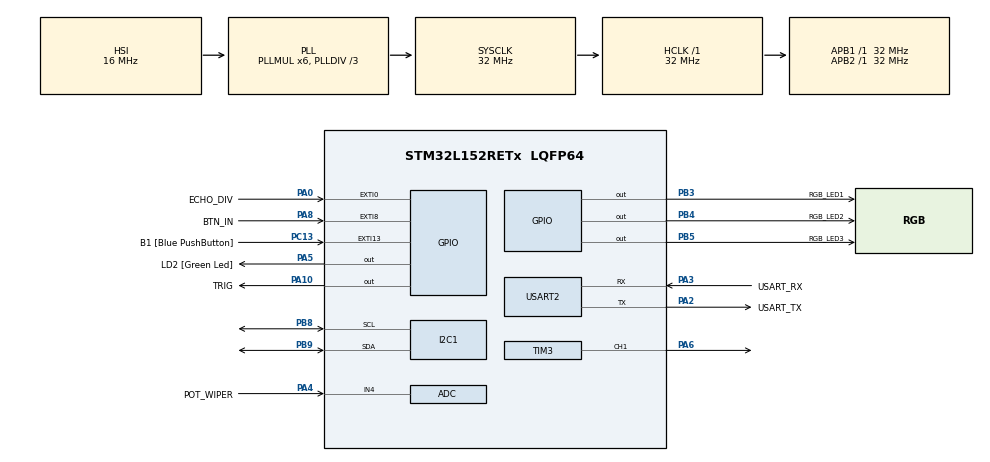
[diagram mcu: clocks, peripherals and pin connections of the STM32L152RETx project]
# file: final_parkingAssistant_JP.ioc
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ADC.Channel-0\#ChannelRegularConversion=ADC_CHANNEL_4
ADC.NbrOfConversionFlag=1
ADC.Rank-0\#ChannelRegularConversion=1
ADC.SamplingTime-0\#ChannelRegularConversion=ADC_SAMPLETIME_96CYCLES
Mcu.Family=STM32L1
Mcu.Name=STM32L152RETx
Mcu.Package=LQFP64
NVIC.EXTI0_IRQn=true\:2\:0\:true\:false\:true\:true\:true\:true
NVIC.EXTI9_5_IRQn=true\:3\:0\:true\:false\:true\:true\:true\:true
NVIC.PriorityGroup=NVIC_PRIORITYGROUP_4
PA0-WKUP1.GPIO_Label=ECHO_DIV
PA0-WKUP1.GPIO_ModeDefaultEXTI=GPIO_MODE_IT_RISING_FALLING
PA0-WKUP1.Signal=GPXTI0
PA10.GPIO_Label=TRIG
PA10.GPIO_Speed=GPIO_SPEED_FREQ_MEDIUM
PA10.Signal=GPIO_Output
PA13.GPIO_Label=TMS
PA13.Mode=Serial_Wire
PA13.Signal=SYS_JTMS-SWDIO
PA14.GPIO_Label=TCK
PA14.Mode=Serial_Wire
PA14.Signal=SYS_JTCK-SWCLK
PA2.GPIO_Label=USART_TX
PA2.Mode=Asynchronous
PA2.Signal=USART2_TX
PA3.GPIO_Label=USART_RX
PA3.Mode=Asynchronous
PA3.Signal=USART2_RX
PA4.GPIO_Label=POT_WIPER
PA4.Mode=IN4
PA4.Signal=ADC_IN4
PA5.GPIO_Label=LD2 [Green Led]
PA5.Signal=GPIO_Output
PA6.Signal=S_TIM3_CH1
PA8.GPIO_Label=BTN_IN
PA8.GPIO_ModeDefaultEXTI=GPIO_MODE_IT_RISING_FALLING
PA8.GPIO_PuPd=GPIO_PULLUP
PA8.Signal=GPXTI8
PB3.GPIO_Label=RGB_LED1
PB3.PinState=GPIO_PIN_SET
PB3.Signal=GPIO_Output
PB4.GPIO_Label=RGB_LED2
PB4.PinState=GPIO_PIN_SET
PB4.Signal=GPIO_Output
PB5.GPIO_Label=RGB_LED3
PB5.PinState=GPIO_PIN_SET
PB5.Signal=GPIO_Output
PB8.GPIO_Speed=GPIO_SPEED_FREQ_MEDIUM
PB8.Mode=I2C
PB8.Signal=I2C1_SCL
PB9.GPIO_Speed=GPIO_SPEED_FREQ_MEDIUM
PB9.Mode=I2C
PB9.Signal=I2C1_SDA
PC13-WKUP2.GPIO_Label=B1 [Blue PushButton]
PC13-WKUP2.Signal=GPXTI13
PC14-OSC32_IN.Mode=LSE-External-Oscillator
PC14-OSC32_IN.Signal=RCC_OSC32_IN
PC15-OSC32_OUT.Mode=LSE-External-Oscillator
PC15-OSC32_OUT.Signal=RCC_OSC32_OUT
PH0-OSC_IN.Mode=HSE-External-Clock-Source
PH0-OSC_IN.Signal=RCC_OSC_IN
PH1-OSC_OUT.Signal=RCC_OSC_OUT
ProjectManager.HeapSize=0x200
ProjectManager.StackSize=0x400
ProjectManager.TargetToolchain=STM32CubeIDE
RCC.48MHZClocksFreq_Value=48000000
RCC.AHBFreq_Value=32000000
RCC.APB1Freq_Value=32000000
RCC.APB1TimFreq_Value=32000000
RCC.APB2Freq_Value=32000000
RCC.APB2TimFreq_Value=32000000
RCC.HCLKFreq_Value=32000000
RCC.HSE_VALUE=8000000
RCC.HSI_VALUE=16000000
RCC.MSI_VALUE=2097000
RCC.PLLDIV=RCC_PLL_DIV3
RCC.PLLMUL=RCC_PLL_MUL6
RCC.RTCClockSelectionVirtual=RCC_RTCCLKSOURCE_LSE
RCC.SYSCLKFreq_VALUE=32000000
RCC.SYSCLKSource=RCC_SYSCLKSOURCE_PLLCLK
RCC.USBOutput=48000000
RCC.VCOOutputFreq_Value=96000000
SH.S_TIM3_CH1.0=TIM3_CH1,PWM Generation1 CH1
TIM2.Prescaler=31
TIM3.Channel-PWM\ Generation1\ CH1=TIM_CHANNEL_1
TIM3.Period=499
TIM3.Prescaler=31
TIM3.Pulse-PWM\ Generation1\ CH1=200
USART2.VirtualMode=VM_ASYNC
VP_TIM2_VS_ClockSourceINT.Mode=Internal
board=NUCLEO-L152RE

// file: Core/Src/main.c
/* USER CODE BEGIN Header */
/**
  ******************************************************************************
  * @file           : main.c
  * @brief          : Main program body
  ******************************************************************************
  * @attention
  *
  * Copyright (c) 2025 STMicroelectronics.
  * All rights reserved.
  *
  * This software is licensed under terms that can be found in the LICENSE file
  * in the root directory of this software component.
  * If no LICENSE file comes with this software, it is provided AS-IS.
  *
  ******************************************************************************
  */
/* USER CODE END Header */
#include "main.h"

/* USER CODE BEGIN Includes */
#include <stdio.h>
#include <string.h>
/* USER CODE END Includes */

/* USER CODE BEGIN PD */
// ---- UI / logic constants ----
// Hysteresis for OOR: once you're "out", you must come back below OOR_EXIT_CM to re-enter range.
#define OOR_ENTER_CM    60    // distance >= this -> go OOR
#define OOR_EXIT_CM     56    // distance <= this -> back in range

#define OUT_MAX_CM      OOR_ENTER_CM   // leave this name for existing code paths (LCD/buzzer)
#define SLOW_BAND_CM    25    // stop_cm..stop_cm+25 = "SLOW"; else "SAFE"
#define BAR_LEN         12    // meter cells on 2nd line
#define DEBOUNCE_MS     40
#define LONG_PRESS_MS   700   // hold >= this => enable/disable toggle

/* USER CODE END PD */

ADC_HandleTypeDef hadc;

I2C_HandleTypeDef hi2c1;

TIM_HandleTypeDef htim2;
TIM_HandleTypeDef htim3;

UART_HandleTypeDef huart2;

/* USER CODE BEGIN PV */
// ---- Ultrasonic shared state (EXTI + TIM2) ----
volatile uint32_t t_rise = 0, t_fall = 0;
volatile uint8_t  echo_done = 0;       // set on falling edge
volatile uint32_t us_pulse = 0;        // pulse width in us
volatile uint16_t cm10     = 0;        // distance in 0.1 cm (integer)

// ---- Pot values ----
volatile uint16_t pot_raw = 0;         // 0..4095
volatile uint16_t stop_cm = 60;        // user "stop" setpoint (cm), from pot

// ---- Buzzer pattern (non-blocking) ----
uint32_t beep_next_ms = 0;
uint16_t beep_on_ms   = 60;
uint16_t beep_off_ms  = 300;

// ---- App state ----
volatile uint8_t  system_enabled = 1;   // long-press toggles this
volatile uint8_t  buzzer_muted   = 0;   // short-press toggles this

// ---- Button (PA8) edge tracking ----
volatile uint8_t  btn_down = 0;
volatile uint32_t btn_t0   = 0;

// ---- MCP23008 LCD port mirror (backlight on) ----
static uint8_t mcp_port = (1u<<7);     // LCD_BL

// Line caches to avoid flicker (16 chars + NUL)
static char line0_prev[17] = "                ";
static char line1_prev[17] = "                ";
static uint32_t next_lcd_ms = 0;

/* USER CODE END PV */

void SystemClock_Config(void);
static void MX_GPIO_Init(void);
static void MX_USART2_UART_Init(void);
static void MX_ADC_Init(void);
static void MX_I2C1_Init(void);
static void MX_TIM2_Init(void);
static void MX_TIM3_Init(void);
/* USER CODE BEGIN PFP */
// microsecond delay via DWT
static void delay_us(uint32_t us);

// ultrasonic
static void usonic_timer_start(void);
static uint8_t usonic_single(void);   // fills us_pulse & cm10, returns 1 if ok

// pot
static uint16_t pot_read_raw(void);
static uint16_t pot_to_stop_cm(uint16_t v); // map 0..4095 -> 20..150 cm

// RGB & buzzer
static void rgb_set(uint8_t r_on, uint8_t g_on, uint8_t b_on); // 1=ON
static void buzzer_on(void);
static void buzzer_off(void);
static void buzzer_update(uint32_t now_ms, uint16_t dist_cm);

// UI helpers (only the drawer is prototyped here;
// lcd_write_line_cached() is defined before use in USER CODE 0)
static void lcd_draw_ui(uint16_t dist_cm, uint16_t stop_cm, uint8_t muted, uint8_t enabled);

// LCD (MCP23008 @ 0x20)
static void lcd_i2c_scan(void);
static HAL_StatusTypeDef mcp_write(uint8_t reg, uint8_t val);
static void mcp_apply(void);
static void lcd_pulseE(void);
static void lcd_write4(uint8_t nibble, uint8_t rs);
static void lcd_write8(uint8_t v, uint8_t rs);
static void lcd_cmd(uint8_t c);
static void lcd_data(uint8_t d);
static void lcd_init_4bit(void);
static void lcd_set_cursor(uint8_t col, uint8_t row);
static void lcd_print(const char *s);
static void lcd_print_u16(uint16_t v);
static void lcd_bar16(uint8_t filled);
static void lcd_clear_line(uint8_t row);
/* USER CODE END PFP */

/* USER CODE BEGIN 0 */
// ---- microsecond delay via DWT cycle counter ----
static void delay_us(uint32_t us){
  static uint8_t ready = 0;
  if(!ready){
    CoreDebug->DEMCR |= CoreDebug_DEMCR_TRCENA_Msk;
    DWT->CYCCNT = 0;
    DWT->CTRL  |= DWT_CTRL_CYCCNTENA_Msk;
    ready = 1;
  }
  const uint32_t cycles_per_us = 32000000u/1000000u; // SYSCLK ~32 MHz
  uint32_t start = DWT->CYCCNT, target = start + us*cycles_per_us;
  while((int32_t)(DWT->CYCCNT - target) < 0) { __NOP(); }
}

// ---- Ultrasonic helpers ----
static void usonic_timer_start(void){
  // TIM2 is Base @ 1 MHz (PSC=31, ARR=65535)
  __HAL_TIM_SET_PRESCALER(&htim2, 31);
  __HAL_TIM_SET_AUTORELOAD(&htim2, 65535);
  __HAL_TIM_SET_COUNTER(&htim2, 0);
  HAL_TIM_Base_Start(&htim2);
  // TRIG idle low
  HAL_GPIO_WritePin(TRIG_GPIO_Port, TRIG_Pin, GPIO_PIN_RESET);
}

// one shot: returns 1 if echo captured, updates us_pulse and cm10
static uint8_t usonic_single(void){
  echo_done = 0;
  // 10–12 us TRIG
  HAL_GPIO_WritePin(TRIG_GPIO_Port, TRIG_Pin, GPIO_PIN_SET);
  delay_us(12);
  HAL_GPIO_WritePin(TRIG_GPIO_Port, TRIG_Pin, GPIO_PIN_RESET);

  // wait up to 40 ms
  uint32_t t0 = HAL_GetTick();
  while(!echo_done){
    if (HAL_GetTick() - t0 > 40) return 0;
  }
  uint32_t arr = __HAL_TIM_GET_AUTORELOAD(&htim2) + 1;
  us_pulse = (t_fall >= t_rise) ? (t_fall - t_rise) : (t_fall + arr - t_rise);
  // distance in 0.1 cm: (us / 58) * 10 = us * 10 / 58
  cm10 = (uint16_t)((us_pulse * 10u) / 58u);
  return 1;
}

// ---- Potentiometer ----
static uint16_t pot_read_raw(void){
  HAL_ADC_Start(&hadc);
  HAL_ADC_PollForConversion(&hadc, 5);
  uint16_t v = (uint16_t)HAL_ADC_GetValue(&hadc);
  HAL_ADC_Stop(&hadc);
  return v;
}
// map 0..4095 -> 20..150 cm (linear)
static uint16_t pot_to_stop_cm(uint16_t v){
  if (v > 4095) v = 4095;
  return (uint16_t)(20u + ((150u - 20u) * (uint32_t)v)/4095u);
}

// ---- RGB (common-anode: LOW=ON) ----
static void rgb_set(uint8_t r_on, uint8_t g_on, uint8_t b_on){
  // drive low to turn ON
  HAL_GPIO_WritePin(RGB_LED1_GPIO_Port, RGB_LED1_Pin, r_on ? GPIO_PIN_RESET : GPIO_PIN_SET);
  HAL_GPIO_WritePin(RGB_LED2_GPIO_Port, RGB_LED2_Pin, g_on ? GPIO_PIN_RESET : GPIO_PIN_SET);
  HAL_GPIO_WritePin(RGB_LED3_GPIO_Port, RGB_LED3_Pin, b_on ? GPIO_PIN_RESET : GPIO_PIN_SET);
}

// ---- Buzzer @ 2 kHz (TIM3 CH1; CCR=50% when ON) ----
static void buzzer_on(void){
  __HAL_TIM_SET_COMPARE(&htim3, TIM_CHANNEL_1, (__HAL_TIM_GET_AUTORELOAD(&htim3)+1)/2);
  HAL_TIM_PWM_Start(&htim3, TIM_CHANNEL_1);
}
static void buzzer_off(void){
  HAL_TIM_PWM_Stop(&htim3, TIM_CHANNEL_1);
}
// --- small median-of-3 helper (robust to one outlier) ---
static uint16_t median3(uint16_t a, uint16_t b, uint16_t c)
{
  if (a > b) { uint16_t t=a; a=b; b=t; }
  if (b > c) { uint16_t t=b; b=c; c=t; }
  if (a > b) { uint16_t t=a; a=b; b=t; }
  return b; // now b is median
}

// ---- UI + LED helpers ------------------------------------------------------

// Color enum and LED setter (common-anode: LOW = ON)
typedef enum { LED_OFF=0, LED_GREEN, LED_YELLOW, LED_RED } LEDColor;

static void set_led_color(LEDColor c)
{
  switch (c) {
    case LED_OFF:    rgb_set(0,0,0); break;
    case LED_GREEN:  rgb_set(0,1,0); break;
    case LED_YELLOW: rgb_set(1,1,0); break; // red+green
    case LED_RED:    rgb_set(1,0,0); break;
  }
}

// Write a full 16-char line only if contents changed (reduces flicker)
static void lcd_write_line_cached(uint8_t row, const char *line16, char prev16[17])
{
  // compare
  if (memcmp(prev16, line16, 16) == 0) return;

  // write
  lcd_set_cursor(0, row);
  for (uint8_t i = 0; i < 16; ++i) {
    lcd_data((uint8_t)line16[i]);
  }

  // cache
  memcpy(prev16, line16, 16);
  prev16[16] = '\0';
}

// Line0: "D:XXcm S:YY " + 'M' at col 15
// Line1: [BAR] + "SAFE/SLOW/STOP" or "OOR "
static void lcd_draw_ui(uint16_t dist_cm, uint16_t stop_cm, uint8_t muted, uint8_t enabled)
{
  extern char line0_prev[17];
  extern char line1_prev[17];
  extern uint32_t next_lcd_ms;

  uint32_t now = HAL_GetTick();
  if ((int32_t)(now - next_lcd_ms) < 0) return;  // rate-limit
  next_lcd_ms = now + 50;                         // ~20 Hz max

  char l0[17]; char l1[17];
  memset(l0, ' ', 16); l0[16] = '\0';
  memset(l1, ' ', 16); l1[16] = '\0';

  if (!enabled) {
    lcd_write_line_cached(0, l0, line0_prev);
    lcd_write_line_cached(1, l1, line1_prev);
    return;
  }

  // ----- Line 0 -----
  const uint8_t invalid = (dist_cm == 999 || dist_cm > OUT_MAX_CM);
  char dstr[4] = "---";
  if (!invalid) snprintf(dstr, sizeof dstr, "%3u", dist_cm);
  char sstr[4]; snprintf(sstr, sizeof sstr, "%-3u", stop_cm);

  l0[0]='D'; l0[1]=':'; memcpy(&l0[2], dstr, 3);
  l0[5]='c'; l0[6]='m'; l0[7]=' ';
  l0[8]='S'; l0[9]=':'; memcpy(&l0[10], sstr, 3);
  l0[15] = muted ? 'M' : ' ';

  // ----- Line 1 -----
  if (invalid) {
    memcpy(&l1[12], "OOR ", 4);
  } else {
    int16_t remain = (int16_t)stop_cm - (int16_t)dist_cm; // >0 when closer than setpoint
    uint8_t fill = (remain <= 0) ? 0 :
                   (remain >= (BAR_LEN*2) ? BAR_LEN : (uint8_t)(remain/2));
    for (uint8_t i=0;i<BAR_LEN && i<16;i++) l1[i] = (i<fill) ? (char)0xFF : ' ';

    const char* status =
      (dist_cm <= stop_cm) ? "STOP" :
      (dist_cm < (uint16_t)(stop_cm + SLOW_BAND_CM)) ? "SLOW" : "SAFE";
    memcpy(&l1[12], status, 4); // fits at columns 12..15
  }

  // push if changed
  lcd_write_line_cached(0, l0, line0_prev);
  lcd_write_line_cached(1, l1, line1_prev);
}

// Final cadence: SAFE = very infrequent, SLOW = ~1 Hz, STOP = continuous tone
static void buzzer_update(uint32_t now_ms, uint16_t dist_cm)
{
  // Global guards
  if (!system_enabled || buzzer_muted || dist_cm == 999 || dist_cm > OUT_MAX_CM) {
    buzzer_off();
    // don't reset state; when re-enabled we’ll re-sync on zone change
    return;
  }

  // Zone selection
  enum { Z_SAFE=0, Z_SLOW, Z_STOP } zone;
  if (dist_cm <= stop_cm) {
    zone = Z_STOP;                 // RED
  } else if (dist_cm < (uint16_t)(stop_cm + SLOW_BAND_CM)) {
    zone = Z_SLOW;                 // YELLOW
  } else {
    zone = Z_SAFE;                 // GREEN
  }

  // Persistent state
  static uint8_t  phase_on = 0;    // 0 = OFF, 1 = ON (for chirps)
  static uint32_t t_next   = 0;    // next toggle timestamp
  static uint8_t  last_zone = 0xFF;

  // STOP => continuous tone
  if (zone == Z_STOP) {
    if (last_zone != Z_STOP) {
      // entering STOP: turn solid ON
      buzzer_on();
      phase_on  = 1;
      // t_next unused while in STOP
    }
    last_zone = Z_STOP;
    return; // keep buzzing continuously
  }

  // If we just left STOP, ensure we start from OFF to make chirps clear
  if (last_zone == Z_STOP && zone != Z_STOP) {
    buzzer_off();
    phase_on = 0;
    t_next   = now_ms; // ready to start new cadence
  }
  last_zone = zone;

  // Per-zone ON/OFF timings (ms)
  // SAFE: ~0.33 Hz => 60 ms ON, 2940 ms OFF (very infrequent)
  // SLOW: ~1.0  Hz => 120 ms ON, 880  ms OFF (clearly more frequent)
  uint16_t on_ms, off_ms;
  if (zone == Z_SLOW) {
    on_ms = 120; off_ms = 880;
  } else { // Z_SAFE
    on_ms = 60;  off_ms = 2940;
  }

  // Initialize first chirp promptly when entering a chirp zone
  static uint8_t initialized = 0;
  if (!initialized) {
    initialized = 1;
    phase_on = 1;
    buzzer_on();
    t_next = now_ms + on_ms;
  }

  // Toggle by schedule
  if ((int32_t)(now_ms - t_next) >= 0) {
    if (phase_on) {
      // go OFF for the rest period
      buzzer_off();
      phase_on = 0;
      t_next = now_ms + off_ms;
    } else {
      // start a chirp
      buzzer_on();
      phase_on = 1;
      t_next = now_ms + on_ms;
    }
  }
}

// ---- LCD (MCP23008 @ 0x20) ----
#define LCD_RS   (1u<<1)
#define LCD_E    (1u<<2)
#define LCD_D4   (1u<<3)
#define LCD_D5   (1u<<4)
#define LCD_D6   (1u<<5)
#define LCD_D7   (1u<<6)
#define LCD_BL   (1u<<7)
#define MCP_ADDR (0x20u<<1)
#define MCP_IODIR 0x00
#define MCP_GPIO  0x09

static void lcd_i2c_scan(void){
  volatile uint8_t seen = 0;
  for(uint8_t a=0x03;a<0x78;a++){
    if(HAL_I2C_IsDeviceReady(&hi2c1, a<<1, 1, 5)==HAL_OK){
      if (a==0x20) seen=1;
    }
  }
  (void)seen; // set a breakpoint to verify seen==1
}
static HAL_StatusTypeDef mcp_write(uint8_t reg, uint8_t val){
  uint8_t buf[2] = {reg, val};
  return HAL_I2C_Master_Transmit(&hi2c1, MCP_ADDR, buf, 2, 50);
}
static void mcp_apply(void){ (void)mcp_write(MCP_GPIO, mcp_port); }
static void lcd_pulseE(void){
  mcp_port |= LCD_E;  mcp_apply();
  for(volatile int i=0;i<160;i++) __NOP();
  mcp_port &= ~LCD_E; mcp_apply();
}
static void lcd_write4(uint8_t nibble, uint8_t rs){
  mcp_port &= ~(LCD_D4|LCD_D5|LCD_D6|LCD_D7|LCD_RS);
  if (rs) mcp_port |= LCD_RS;
  if (nibble & 0x01) mcp_port |= LCD_D4;
  if (nibble & 0x02) mcp_port |= LCD_D5;
  if (nibble & 0x04) mcp_port |= LCD_D6;
  if (nibble & 0x08) mcp_port |= LCD_D7;
  mcp_apply();
  lcd_pulseE();
}
static void lcd_write8(uint8_t v, uint8_t rs){
  lcd_write4((v>>4)&0x0F, rs);
  lcd_write4( v    &0x0F, rs);
}
static void lcd_cmd(uint8_t c){ lcd_write8(c, 0); HAL_Delay(2); }
static void lcd_data(uint8_t d){ lcd_write8(d, 1); }
static void lcd_init_4bit(void){
  (void)mcp_write(MCP_IODIR, 0x00);
  mcp_port = LCD_BL; mcp_apply();
  HAL_Delay(50);
  lcd_write4(0x03,0); HAL_Delay(5);
  lcd_write4(0x03,0); HAL_Delay(5);
  lcd_write4(0x03,0); HAL_Delay(1);
  lcd_write4(0x02,0); HAL_Delay(1);  // 4-bit
  lcd_cmd(0x28); // 4-bit, 2-line, 5x8
  lcd_cmd(0x08); // display off
  lcd_cmd(0x01); HAL_Delay(2);
  lcd_cmd(0x06); // entry mode
  lcd_cmd(0x0C); // display on
}
static void lcd_set_cursor(uint8_t col, uint8_t row){
  static const uint8_t rowaddr[] = {0x00, 0x40, 0x14, 0x54};
  if (row>1) row=1;
  lcd_cmd(0x80 | (rowaddr[row] + col));
}
static void lcd_print(const char *s){ while(*s) lcd_data((uint8_t)*s++); }
static void lcd_print_u16(uint16_t v){
  char buf[6]; // up to 65535
  int i=5; buf[i--]='\0';
  if(v==0){ lcd_data('0'); return; }
  while(v && i>=0){ buf[i--] = '0'+(v%10); v/=10; }
  lcd_print(&buf[i+1]);
}
// simple 0..BAR_LEN bar on row 2
static void lcd_bar16(uint8_t filled){
  if (filled>BAR_LEN) filled=BAR_LEN;
  for(uint8_t i=0;i<BAR_LEN;i++) lcd_data(i<filled ? 0xFF : ' ');
}

static void lcd_clear_line(uint8_t row){
  lcd_set_cursor(0,row);
  lcd_print("                "); // 16 spaces
  lcd_set_cursor(0,row);
}

/* USER CODE END 0 */

int main(void)
{

  /* MCU Configuration--------------------------------------------------------*/

  /* Reset of all peripherals, Initializes the Flash interface and the Systick. */
  HAL_Init();

  /* Configure the system clock */
  SystemClock_Config();

  /* Initialize all configured peripherals */
  MX_GPIO_Init();
  MX_USART2_UART_Init();
  MX_ADC_Init();
  MX_I2C1_Init();
  MX_TIM2_Init();
  MX_TIM3_Init();
  /* USER CODE BEGIN 2 */
  // RGB off until first valid reading (common-anode => pass zeros)
  rgb_set(0,0,0);

  // I2C presence (optional breakpoint inside)
  lcd_i2c_scan();

  // LCD hello
  lcd_init_4bit();
  lcd_set_cursor(0,0); lcd_print("Parking Assist ");
  lcd_set_cursor(0,1); lcd_print("Init...        ");

  // Ultrasonic timing base + TRIG low
  usonic_timer_start();

  // Pot seed
  pot_raw = pot_read_raw();
  stop_cm = pot_to_stop_cm(pot_raw);

  // Buzzer idle, quick self-test 300 ms
  buzzer_off();
  __HAL_TIM_SET_COMPARE(&htim3, TIM_CHANNEL_1, (__HAL_TIM_GET_AUTORELOAD(&htim3)+1)/2);
  HAL_TIM_PWM_Start(&htim3, TIM_CHANNEL_1);
  HAL_Delay(300);
  HAL_TIM_PWM_Stop(&htim3, TIM_CHANNEL_1);

  // Initial UI paint
  lcd_draw_ui(999, stop_cm, buzzer_muted, system_enabled);
  set_led_color(LED_OFF);

  /* USER CODE END 2 */

  /* Infinite loop */
  /* USER CODE BEGIN WHILE */
  while (1)
  {
    // read pot -> stop_cm
    pot_raw = pot_read_raw();
    stop_cm = pot_to_stop_cm(pot_raw);

    // --- ultrasonic read ---
    uint16_t dist_sample = 999;
    if (usonic_single()) {
      dist_sample = (uint16_t)(cm10/10u);
    }

    // --- 3-sample median filter + OOR hysteresis ---
    static uint16_t d0 = 999, d1 = 999, d2 = 999;   // history
    static uint8_t  oor = 1;                        // start OOR until we see close
    // shift in latest sample (if invalid keep previous values as-is)
    d2 = d1; d1 = d0; d0 = dist_sample;
    uint16_t dist_med = median3(d0, d1, d2);

    // Hysteresis: only flip states when we truly cross the spaced thresholds
    if (oor) {
      if (dist_med <= OOR_EXIT_CM) oor = 0;            // back in range
    } else {
      if (dist_med >= OOR_ENTER_CM) oor = 1;           // go OOR
    }

    // Use 999 to signal "invalid/OOR" to the rest of the UI/buzzer logic
    uint16_t dist_logic = oor ? 999 : dist_med;

    // ----- LED selection -----
    if (!system_enabled || dist_logic == 999) {
      set_led_color(LED_OFF);
    } else if (dist_logic <= stop_cm) {
      set_led_color(LED_RED);
    } else if (dist_logic < (uint16_t)(stop_cm + SLOW_BAND_CM)) {
      set_led_color(LED_YELLOW);
    } else {
      set_led_color(LED_GREEN);
    }

    // ----- Buzzer cadence (handles mute/system/OOR internally) -----
    buzzer_update(HAL_GetTick(), dist_logic);

    // ----- LCD: top line & bar + status (no clears; cached) -----
    lcd_draw_ui(dist_logic, stop_cm, buzzer_muted, system_enabled);

    HAL_Delay(5); // give time to SysTick/EXTI/I2C
  }

  /* USER CODE END 3 */
}

void SystemClock_Config(void)
{
  RCC_OscInitTypeDef RCC_OscInitStruct = {0};
  RCC_ClkInitTypeDef RCC_ClkInitStruct = {0};

  /** Configure the main internal regulator output voltage
  */
  __HAL_PWR_VOLTAGESCALING_CONFIG(PWR_REGULATOR_VOLTAGE_SCALE1);

  /** Initializes the RCC Oscillators according to the specified parameters
  * in the RCC_OscInitTypeDef structure.
  */
  RCC_OscInitStruct.OscillatorType = RCC_OSCILLATORTYPE_HSI;
  RCC_OscInitStruct.HSIState = RCC_HSI_ON;
  RCC_OscInitStruct.HSICalibrationValue = RCC_HSICALIBRATION_DEFAULT;
  RCC_OscInitStruct.PLL.PLLState = RCC_PLL_ON;
  RCC_OscInitStruct.PLL.PLLSource = RCC_PLLSOURCE_HSI;
  RCC_OscInitStruct.PLL.PLLMUL = RCC_PLL_MUL6;
  RCC_OscInitStruct.PLL.PLLDIV = RCC_PLL_DIV3;
  if (HAL_RCC_OscConfig(&RCC_OscInitStruct) != HAL_OK)
  {
    Error_Handler();
  }

  /** Initializes the CPU, AHB and APB buses clocks
  */
  RCC_ClkInitStruct.ClockType = RCC_CLOCKTYPE_HCLK|RCC_CLOCKTYPE_SYSCLK
                              |RCC_CLOCKTYPE_PCLK1|RCC_CLOCKTYPE_PCLK2;
  RCC_ClkInitStruct.SYSCLKSource = RCC_SYSCLKSOURCE_PLLCLK;
  RCC_ClkInitStruct.AHBCLKDivider = RCC_SYSCLK_DIV1;
  RCC_ClkInitStruct.APB1CLKDivider = RCC_HCLK_DIV1;
  RCC_ClkInitStruct.APB2CLKDivider = RCC_HCLK_DIV1;

  if (HAL_RCC_ClockConfig(&RCC_ClkInitStruct, FLASH_LATENCY_1) != HAL_OK)
  {
    Error_Handler();
  }
}

static void MX_ADC_Init(void)
{

  ADC_ChannelConfTypeDef sConfig = {0};

  /** Configure the global features of the ADC (Clock, Resolution, Data Alignment and number of conversion)
  */
  hadc.Instance = ADC1;
  hadc.Init.ClockPrescaler = ADC_CLOCK_ASYNC_DIV1;
  hadc.Init.Resolution = ADC_RESOLUTION_12B;
  hadc.Init.DataAlign = ADC_DATAALIGN_RIGHT;
  hadc.Init.ScanConvMode = ADC_SCAN_DISABLE;
  hadc.Init.EOCSelection = ADC_EOC_SEQ_CONV;
  hadc.Init.LowPowerAutoWait = ADC_AUTOWAIT_DISABLE;
  hadc.Init.LowPowerAutoPowerOff = ADC_AUTOPOWEROFF_DISABLE;
  hadc.Init.ChannelsBank = ADC_CHANNELS_BANK_A;
  hadc.Init.ContinuousConvMode = DISABLE;
  hadc.Init.NbrOfConversion = 1;
  hadc.Init.DiscontinuousConvMode = DISABLE;
  hadc.Init.ExternalTrigConv = ADC_SOFTWARE_START;
  hadc.Init.ExternalTrigConvEdge = ADC_EXTERNALTRIGCONVEDGE_NONE;
  hadc.Init.DMAContinuousRequests = DISABLE;
  if (HAL_ADC_Init(&hadc) != HAL_OK)
  {
    Error_Handler();
  }

  /** Configure for the selected ADC regular channel its corresponding rank in the sequencer and its sample time.
  */
  sConfig.Channel = ADC_CHANNEL_4;
  sConfig.Rank = ADC_REGULAR_RANK_1;
  sConfig.SamplingTime = ADC_SAMPLETIME_96CYCLES;
  if (HAL_ADC_ConfigChannel(&hadc, &sConfig) != HAL_OK)
  {
    Error_Handler();
  }

}

static void MX_I2C1_Init(void)
{

  hi2c1.Instance = I2C1;
  hi2c1.Init.ClockSpeed = 100000;
  hi2c1.Init.DutyCycle = I2C_DUTYCYCLE_2;
  hi2c1.Init.OwnAddress1 = 0;
  hi2c1.Init.AddressingMode = I2C_ADDRESSINGMODE_7BIT;
  hi2c1.Init.DualAddressMode = I2C_DUALADDRESS_DISABLE;
  hi2c1.Init.OwnAddress2 = 0;
  hi2c1.Init.GeneralCallMode = I2C_GENERALCALL_DISABLE;
  hi2c1.Init.NoStretchMode = I2C_NOSTRETCH_DISABLE;
  if (HAL_I2C_Init(&hi2c1) != HAL_OK)
  {
    Error_Handler();
  }

}

static void MX_TIM2_Init(void)
{

  TIM_ClockConfigTypeDef sClockSourceConfig = {0};
  TIM_MasterConfigTypeDef sMasterConfig = {0};

  htim2.Instance = TIM2;
  htim2.Init.Prescaler = 31;
  htim2.Init.CounterMode = TIM_COUNTERMODE_UP;
  htim2.Init.Period = 65535;
  htim2.Init.ClockDivision = TIM_CLOCKDIVISION_DIV1;
  htim2.Init.AutoReloadPreload = TIM_AUTORELOAD_PRELOAD_DISABLE;
  if (HAL_TIM_Base_Init(&htim2) != HAL_OK)
  {
    Error_Handler();
  }
  sClockSourceConfig.ClockSource = TIM_CLOCKSOURCE_INTERNAL;
  if (HAL_TIM_ConfigClockSource(&htim2, &sClockSourceConfig) != HAL_OK)
  {
    Error_Handler();
  }
  sMasterConfig.MasterOutputTrigger = TIM_TRGO_RESET;
  sMasterConfig.MasterSlaveMode = TIM_MASTERSLAVEMODE_DISABLE;
  if (HAL_TIMEx_MasterConfigSynchronization(&htim2, &sMasterConfig) != HAL_OK)
  {
    Error_Handler();
  }

}

static void MX_TIM3_Init(void)
{

  TIM_MasterConfigTypeDef sMasterConfig = {0};
  TIM_OC_InitTypeDef sConfigOC = {0};

  htim3.Instance = TIM3;
  htim3.Init.Prescaler = 31;
  htim3.Init.CounterMode = TIM_COUNTERMODE_UP;
  htim3.Init.Period = 499;
  htim3.Init.ClockDivision = TIM_CLOCKDIVISION_DIV1;
  htim3.Init.AutoReloadPreload = TIM_AUTORELOAD_PRELOAD_DISABLE;
  if (HAL_TIM_PWM_Init(&htim3) != HAL_OK)
  {
    Error_Handler();
  }
  sMasterConfig.MasterOutputTrigger = TIM_TRGO_RESET;
  sMasterConfig.MasterSlaveMode = TIM_MASTERSLAVEMODE_DISABLE;
  if (HAL_TIMEx_MasterConfigSynchronization(&htim3, &sMasterConfig) != HAL_OK)
  {
    Error_Handler();
  }
  sConfigOC.OCMode = TIM_OCMODE_PWM1;
  sConfigOC.Pulse = 200;
  sConfigOC.OCPolarity = TIM_OCPOLARITY_HIGH;
  sConfigOC.OCFastMode = TIM_OCFAST_DISABLE;
  if (HAL_TIM_PWM_ConfigChannel(&htim3, &sConfigOC, TIM_CHANNEL_1) != HAL_OK)
  {
    Error_Handler();
  }
  HAL_TIM_MspPostInit(&htim3);

}

static void MX_USART2_UART_Init(void)
{

  huart2.Instance = USART2;
  huart2.Init.BaudRate = 115200;
  huart2.Init.WordLength = UART_WORDLENGTH_8B;
  huart2.Init.StopBits = UART_STOPBITS_1;
  huart2.Init.Parity = UART_PARITY_NONE;
  huart2.Init.Mode = UART_MODE_TX_RX;
  huart2.Init.HwFlowCtl = UART_HWCONTROL_NONE;
  huart2.Init.OverSampling = UART_OVERSAMPLING_16;
  if (HAL_UART_Init(&huart2) != HAL_OK)
  {
    Error_Handler();
  }

}

static void MX_GPIO_Init(void)
{
  GPIO_InitTypeDef GPIO_InitStruct = {0};

  /* GPIO Ports Clock Enable */
  __HAL_RCC_GPIOC_CLK_ENABLE();
  __HAL_RCC_GPIOH_CLK_ENABLE();
  __HAL_RCC_GPIOA_CLK_ENABLE();
  __HAL_RCC_GPIOB_CLK_ENABLE();

  /*Configure GPIO pin Output Level */
  HAL_GPIO_WritePin(GPIOA, LD2_Pin|TRIG_Pin, GPIO_PIN_RESET);

  /*Configure GPIO pin Output Level */
  HAL_GPIO_WritePin(GPIOB, RGB_LED1_Pin|RGB_LED2_Pin|RGB_LED3_Pin, GPIO_PIN_SET);

  /*Configure GPIO pin : B1_Pin */
  GPIO_InitStruct.Pin = B1_Pin;
  GPIO_InitStruct.Mode = GPIO_MODE_IT_RISING;
  GPIO_InitStruct.Pull = GPIO_NOPULL;
  HAL_GPIO_Init(B1_GPIO_Port, &GPIO_InitStruct);

  /*Configure GPIO pin : ECHO_DIV_Pin */
  GPIO_InitStruct.Pin = ECHO_DIV_Pin;
  GPIO_InitStruct.Mode = GPIO_MODE_IT_RISING_FALLING;
  GPIO_InitStruct.Pull = GPIO_NOPULL;
  HAL_GPIO_Init(ECHO_DIV_GPIO_Port, &GPIO_InitStruct);

  /*Configure GPIO pin : LD2_Pin */
  GPIO_InitStruct.Pin = LD2_Pin;
  GPIO_InitStruct.Mode = GPIO_MODE_OUTPUT_PP;
  GPIO_InitStruct.Pull = GPIO_NOPULL;
  GPIO_InitStruct.Speed = GPIO_SPEED_FREQ_LOW;
  HAL_GPIO_Init(LD2_GPIO_Port, &GPIO_InitStruct);

  /*Configure GPIO pin : BTN_IN_Pin */
  GPIO_InitStruct.Pin = BTN_IN_Pin;
  GPIO_InitStruct.Mode = GPIO_MODE_IT_RISING_FALLING;
  GPIO_InitStruct.Pull = GPIO_PULLUP;
  HAL_GPIO_Init(BTN_IN_GPIO_Port, &GPIO_InitStruct);

  /*Configure GPIO pin : TRIG_Pin */
  GPIO_InitStruct.Pin = TRIG_Pin;
  GPIO_InitStruct.Mode = GPIO_MODE_OUTPUT_PP;
  GPIO_InitStruct.Pull = GPIO_NOPULL;
  GPIO_InitStruct.Speed = GPIO_SPEED_FREQ_MEDIUM;
  HAL_GPIO_Init(TRIG_GPIO_Port, &GPIO_InitStruct);

  /*Configure GPIO pins : RGB_LED1_Pin RGB_LED2_Pin RGB_LED3_Pin */
  GPIO_InitStruct.Pin = RGB_LED1_Pin|RGB_LED2_Pin|RGB_LED3_Pin;
  GPIO_InitStruct.Mode = GPIO_MODE_OUTPUT_PP;
  GPIO_InitStruct.Pull = GPIO_NOPULL;
  GPIO_InitStruct.Speed = GPIO_SPEED_FREQ_LOW;
  HAL_GPIO_Init(GPIOB, &GPIO_InitStruct);

  /* EXTI interrupt init*/
  HAL_NVIC_SetPriority(EXTI0_IRQn, 2, 0);
  HAL_NVIC_EnableIRQ(EXTI0_IRQn);

  HAL_NVIC_SetPriority(EXTI9_5_IRQn, 3, 0);
  HAL_NVIC_EnableIRQ(EXTI9_5_IRQn);

}

/* USER CODE BEGIN 4 */
void HAL_GPIO_EXTI_Callback(uint16_t pin)
{
  // Button on PA8
  if (pin == BTN_IN_Pin) {
    uint32_t now = HAL_GetTick();

    // Read current level to know edge (pull-up idle => HIGH; press => LOW)
    GPIO_PinState level = HAL_GPIO_ReadPin(BTN_IN_GPIO_Port, BTN_IN_Pin);

    if (level == GPIO_PIN_RESET) { // FALLING = press
      if (!btn_down && (now - btn_t0) > DEBOUNCE_MS) {
        btn_down = 1;
        btn_t0   = now;
      }
    } else { // RISING = release
      if (btn_down) {
        btn_down = 0;
        uint32_t dt = now - btn_t0;

        if (dt >= LONG_PRESS_MS) {
          // ---- LONG PRESS: toggle system enabled ----
          system_enabled ^= 1;
          if (!system_enabled) {
            // turn everything off/blank when disabling
            set_led_color(LED_OFF);
            buzzer_off();
            lcd_set_cursor(0,0); lcd_print("                ");
            lcd_set_cursor(0,1); lcd_print("                ");
          } else {
            // redraw when enabling
            lcd_draw_ui(999, stop_cm, buzzer_muted, system_enabled);
          }
        } else if (dt >= DEBOUNCE_MS) {
          // ---- SHORT PRESS: toggle mute ----
          buzzer_muted ^= 1;
          // update 'M' flag immediately
          lcd_set_cursor(15,0); lcd_print(buzzer_muted ? "M" : " ");
        }
      }
    }
    return; // done with button
  }

  // Ultrasonic echo (PA0 via EXTI0)
  if (pin == ECHO_DIV_Pin){
    if (HAL_GPIO_ReadPin(ECHO_DIV_GPIO_Port, ECHO_DIV_Pin) == GPIO_PIN_SET){
      t_rise = __HAL_TIM_GET_COUNTER(&htim2);
      echo_done = 0;
    } else {
      t_fall = __HAL_TIM_GET_COUNTER(&htim2);
      echo_done = 1;
    }
  }
}

/* USER CODE END 4 */

void Error_Handler(void)
{
  __disable_irq();
  while (1)
  {
  }
}
